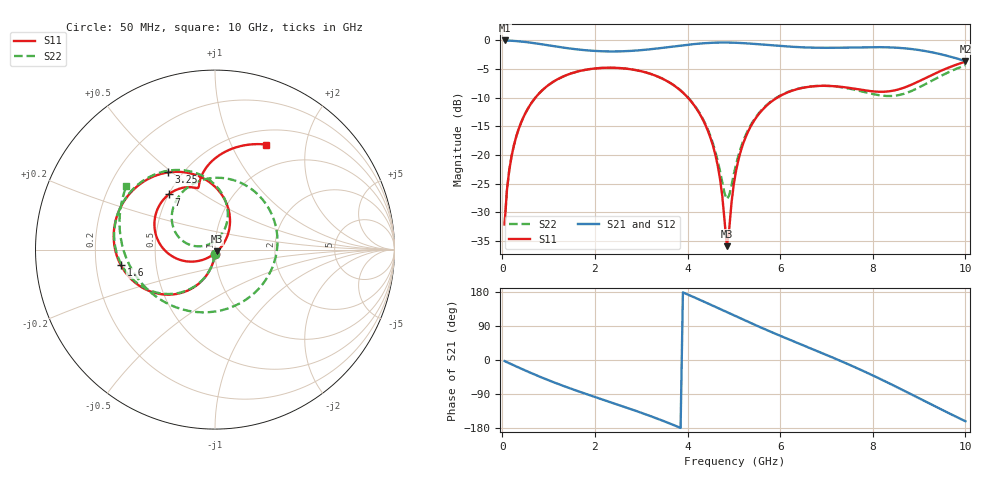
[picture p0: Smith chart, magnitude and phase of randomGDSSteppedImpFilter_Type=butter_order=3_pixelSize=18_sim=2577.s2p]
! freq	dB(S11)	phase(S11)	dB(S12)	phase(S12)
!  dB(S21)	phase(S21)	dB(S22)	phase(S22)
!S-par simulation data
#  GHz  S  DB  R 50
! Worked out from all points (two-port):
!   200 points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, 50 MHz to 10 GHz, reference 50 ohm
!   highest |S21| = -0.01 dB at 50 MHz (marker M1); lowest = -3.6 dB at 10 GHz (marker M2)
!   |S21| within 3 dB of the highest: start of sweep to 9.751 GHz
!   lowest |S11| = -35.9 dB at 4.85 GHz (marker M3), VSWR 1.03, Z = 51.3 - j1 ohm
!   |S11| at or under -10 dB: start of sweep to 716 MHz; 4.008 GHz to 5.936 GHz (1.928 GHz wide, 38.8 % of centre)
!   |S22| runs from -32.1 to -4.3 dB; largest |S21 - S12| = 0
!   S11 on the Smith chart (normalised r, x): 50 MHz: 1.00, -0.05; 1.6 GHz: 0.31, -0.08; 3.25 GHz: 0.42, +0.49; 7 GHz: 0.50, +0.37; 10 GHz: 0.68, +1.37
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0.05  -32.15 -92.9  -0.01 -2.9  -0.01 -2.9  -32.15 -93.0
0.2  -20.23 -101.8  -0.06 -11.4  -0.06 -11.4  -20.23 -102.0
0.45  -13.52 -115.5  -0.23 -25.2  -0.23 -25.2  -13.52 -115.9
1  -7.78 -143.5  -0.86 -53.5  -0.86 -53.5  -7.78 -144.4
1.6  -5.49 -170.5  -1.55 -80.8  -1.55 -80.8  -5.49 -172.0
1.75  -5.21 -176.8  -1.68 -87.2  -1.68 -87.2  -5.21 -178.5
2.45  -4.79 154.7  -1.93 -116.0  -1.93 -116.0  -4.79 152.4
3.25  -5.98 121.1  -1.50 -150.3  -1.50 -150.3  -5.97 118.4
3.4  -6.46 114.3  -1.36 -157.2  -1.36 -157.2  -6.46 111.6
3.95  -9.51 87.4  -0.81 175.7  -0.81 175.7  -9.47 86.1
4.45  -16.00 58.6  -0.45 148.7  -0.45 148.7  -15.80 66.1
4.7  -24.09 36.7  -0.38 134.6  -0.38 134.6  -22.79 71.5
4.85  -35.94 -37.8  -0.37 126.2  -0.37 126.2  -27.73 115.7
5.05  -22.68 -135.7  -0.42 114.9  -0.42 114.9  -21.59 167.3
5.6  -12.28 -171.5  -0.71 84.9  -0.71 84.9  -12.15 155.3
6.7  -8.03 140.6  -1.27 28.6  -1.27 28.6  -8.01 94.8
7  -7.93 130.0  -1.30 13.4  -1.30 13.4  -7.94 75.7
7.7  -8.56 111.3  -1.21 -23.7  -1.21 -23.7  -8.79 21.9
8.35  -8.89 104.8  -1.21 -61.2  -1.21 -61.2  -9.72 -46.7
9.05  -6.93 97.1  -1.75 -104.1  -1.75 -104.1  -8.00 -129.8
9.55  -5.04 82.1  -2.58 -134.7  -2.58 -134.7  -5.89 -178.8
10  -3.72 64.0  -3.61 -161.6  -3.61 -161.6  -4.33 144.4
